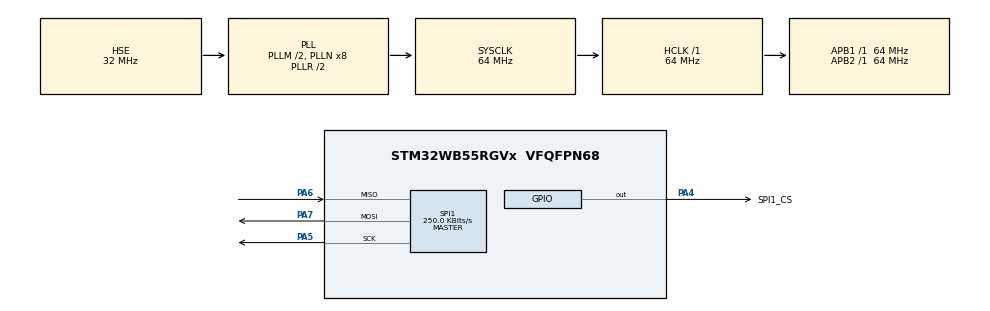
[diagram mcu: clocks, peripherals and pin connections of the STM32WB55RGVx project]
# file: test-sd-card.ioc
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Mcu.Family=STM32WB
Mcu.Name=STM32WB55RGVx
Mcu.Package=VFQFPN68
NUCLEO-WB55RG.BUTTON=1
NUCLEO-WB55RG.BUTTON2=1
NUCLEO-WB55RG.BUTTON3=1
NUCLEO-WB55RG.Bsp_Common_DEMO=true
NUCLEO-WB55RG.LD1=true
NUCLEO-WB55RG.LD2=true
NUCLEO-WB55RG.LD3=true
NUCLEO-WB55RG.VCP=true
NVIC.EXTI0_IRQn=true\:0\:0\:false\:false\:true\:false\:true\:true
NVIC.EXTI1_IRQn=true\:0\:0\:false\:false\:true\:false\:true\:true
NVIC.EXTI4_IRQn=true\:0\:0\:false\:false\:true\:false\:true\:true
NVIC.PriorityGroup=NVIC_PRIORITYGROUP_4
OSC_IN.GPIO_Label=RCC_OSC_IN
OSC_IN.Mode=HSE-External-Oscillator
OSC_IN.Signal=RCC_OSC_IN
OSC_OUT.GPIO_Label=RCC_OSC_OUT
OSC_OUT.Mode=HSE-External-Oscillator
OSC_OUT.Signal=RCC_OSC_OUT
PA11.GPIO_Label=USB_DM
PA11.Signal=USB_DM
PA12.GPIO_Label=USB_DP
PA12.Signal=USB_DP
PA13.GPIO_Label=JTMS
PA13.Mode=Serial_Wire
PA13.Signal=SYS_JTMS-SWDIO
PA14.GPIO_Label=JTCK
PA14.Mode=Serial_Wire
PA14.Signal=SYS_JTCK-SWCLK
PA4.GPIO_Label=SPI1_CS
PA4.GPIO_PuPd=GPIO_PULLUP
PA4.PinState=GPIO_PIN_SET
PA4.Signal=GPIO_Output
PA5.Mode=Full_Duplex_Master
PA5.Signal=SPI1_SCK
PA6.Mode=Full_Duplex_Master
PA6.Signal=SPI1_MISO
PA7.Mode=Full_Duplex_Master
PA7.Signal=SPI1_MOSI
PB3.GPIO_Label=JTDO
PB3.Signal=SYS_JTDO-SWO
PB6.Signal=USART1_TX
PB7.Signal=USART1_RX
PC13.GPIO_Label=SYS_WKUP2
PC13.Signal=SYS_WKUP2
PC14-OSC32_IN.GPIO_Label=RCC_OSC32_IN
PC14-OSC32_IN.Mode=LSE-External-Oscillator
PC14-OSC32_IN.Signal=RCC_OSC32_IN
PC15-OSC32_OUT.GPIO_Label=RCC_OSC32_OUT
PC15-OSC32_OUT.Mode=LSE-External-Oscillator
PC15-OSC32_OUT.Signal=RCC_OSC32_OUT
ProjectManager.HeapSize=0x200
ProjectManager.StackSize=0x400
ProjectManager.TargetToolchain=CMake
RCC.ADCFreq_Value=64000000
RCC.AHB2CLKDivider=RCC_SYSCLK_DIV2
RCC.AHBFreq_Value=64000000
RCC.APB1Freq_Value=64000000
RCC.APB1TimFreq_Value=64000000
RCC.APB2Freq_Value=64000000
RCC.APB2TimFreq_Value=64000000
RCC.APB3Freq_Value=16000000
RCC.CortexFreq_Value=64000000
RCC.HCLKFreq_Value=64000000
RCC.HSE_VALUE=32000000
RCC.HSI48_VALUE=48000000
RCC.HSI_VALUE=16000000
RCC.MSIClockRange=RCC_MSIRANGE_10
RCC.PLLM=RCC_PLLM_DIV2
RCC.PLLSourceVirtual=RCC_PLLSOURCE_HSE
RCC.SMPSCLockSelection=RCC_SMPSCLKSOURCE_HSI
RCC.SMPSCLockSelectionVirtual=RCC_SMPSCLKSOURCE_HSI
RCC.SMPSCLockSelectionVirtualVirtual=RCC_SMPSCLKSOURCE_HSI
RCC.SMPSDivider=1
RCC.SYSCLKFreq_VALUE=64000000
RCC.SYSCLKSource=RCC_SYSCLKSOURCE_PLLCLK
RCC.USBFreq_Value=64000000
RCC.VCOOutputFreq_Value=128000000
SPI1.BaudRatePrescaler=SPI_BAUDRATEPRESCALER_256
SPI1.CalculateBaudRate=250.0 KBits/s
SPI1.DataSize=SPI_DATASIZE_8BIT
SPI1.Direction=SPI_DIRECTION_2LINES
SPI1.Mode=SPI_MODE_MASTER
SPI1.VirtualType=VM_MASTER
VP_FATFS_VS_Generic.Mode=User_defined
VP_MEMORYMAP_VS_MEMORYMAP.Mode=CurAppReg
VP_NUCLEO-WB55RG_VS_BSP_COMMON.Mode=COMMON
board=NUCLEO-WB55RG

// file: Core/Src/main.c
/* USER CODE BEGIN Header */
/**
  ******************************************************************************
  * @file           : main.c
  * @brief          : Main program body
  ******************************************************************************
  * @attention
  *
  * Copyright (c) 2026 STMicroelectronics.
  * All rights reserved.
  *
  * This software is licensed under terms that can be found in the LICENSE file
  * in the root directory of this software component.
  * If no LICENSE file comes with this software, it is provided AS-IS.
  *
  ******************************************************************************
  */
/* USER CODE END Header */
#include "main.h"
#include "app_fatfs.h"

/* USER CODE BEGIN PTD */
FATFS fs;
FIL file;
FRESULT fresult;
UINT bytesWritten;
/* USER CODE END PTD */

COM_InitTypeDef BspCOMInit;
static uint32_t delay = 250;
SPI_HandleTypeDef hspi1;

void SystemClock_Config(void);
void PeriphCommonClock_Config(void);
static void MX_GPIO_Init(void);
static void MX_SPI1_Init(void);

/* USER CODE BEGIN 0 */
int write_test_sd(void) {
    int ok = 0;
    if (f_mount(&fs, "/", 1) == FR_OK) {
        if (f_open(&file, "test.txt", FA_WRITE | FA_CREATE_ALWAYS) == FR_OK) {
            char text[] = "Hello World!\n";
            if (f_write(&file, text, sizeof(text), &bytesWritten) == FR_OK) {
                ok = 1;
            }
            f_close(&file);
        }
        f_mount(NULL, "/", 0);
    }
    return ok;
}

void blink_led(int led, int times) {
    for (int i = 0; i < times; i++) {
        BSP_LED_On(led);
        HAL_Delay(100);
        BSP_LED_Off(led);
        HAL_Delay(100);
    }
    BSP_LED_On(led);
}
/* USER CODE END 0 */

int main(void)
{

  /* MCU Configuration--------------------------------------------------------*/

  /* Reset of all peripherals, Initializes the Flash interface and the Systick. */
  HAL_Init();

  /* Configure the system clock */
  SystemClock_Config();

  /* Configure the peripherals common clocks */
  PeriphCommonClock_Config();

  /* Initialize all configured peripherals */
  MX_GPIO_Init();
  MX_SPI1_Init();
  if (MX_FATFS_Init() != APP_OK) {
    Error_Handler();
  }

  /* Initialize leds */
  BSP_LED_Init(LED_BLUE);
  BSP_LED_Init(LED_GREEN);
  BSP_LED_Init(LED_RED);

  /* Initialize USER push-button, will be used to trigger an interrupt each time it's pressed.*/
  BSP_PB_Init(BUTTON_SW1, BUTTON_MODE_EXTI);
  BSP_PB_Init(BUTTON_SW2, BUTTON_MODE_EXTI);
  BSP_PB_Init(BUTTON_SW3, BUTTON_MODE_EXTI);

  /* Initialize COM1 port (115200, 8 bits (7-bit data + 1 stop bit), no parity */
  BspCOMInit.BaudRate   = 115200;
  BspCOMInit.WordLength = COM_WORDLENGTH_8B;
  BspCOMInit.StopBits   = COM_STOPBITS_1;
  BspCOMInit.Parity     = COM_PARITY_NONE;
  BspCOMInit.HwFlowCtl  = COM_HWCONTROL_NONE;
  if (BSP_COM_Init(COM1, &BspCOMInit) != BSP_ERROR_NONE)
  {
    Error_Handler();
  }

  /* USER CODE BEGIN BSP */

  /* -- Sample board code to send message over COM1 port ---- */
  printf("Welcome to STM32 world !\n\r");

  /* -- Sample board code to switch on leds ---- */
  BSP_LED_On(LED_BLUE);
  BSP_LED_On(LED_GREEN);
  BSP_LED_On(LED_RED);

  if (write_test_sd()) {
      blink_led(LED_GREEN, 5);
  } else {
      blink_led(LED_RED, 5);
  }

  /* USER CODE END BSP */

  /* Infinite loop */
  /* USER CODE BEGIN WHILE */
  while (1)
  {

    /* -- Sample board code for User push-button in interrupt mode ---- */
    BSP_LED_Toggle(LED_BLUE);
    HAL_Delay(delay);

    BSP_LED_Toggle(LED_GREEN);
    HAL_Delay(delay);

    BSP_LED_Toggle(LED_RED);
    HAL_Delay(delay);

    /* USER CODE END WHILE */

  }
}

void SystemClock_Config(void)
{
  RCC_OscInitTypeDef RCC_OscInitStruct = {0};
  RCC_ClkInitTypeDef RCC_ClkInitStruct = {0};

  /** Configure the main internal regulator output voltage
  */
  __HAL_PWR_VOLTAGESCALING_CONFIG(PWR_REGULATOR_VOLTAGE_SCALE1);

  /** Initializes the RCC Oscillators according to the specified parameters
  * in the RCC_OscInitTypeDef structure.
  */
  RCC_OscInitStruct.OscillatorType = RCC_OSCILLATORTYPE_HSI|RCC_OSCILLATORTYPE_HSE;
  RCC_OscInitStruct.HSEState = RCC_HSE_ON;
  RCC_OscInitStruct.HSIState = RCC_HSI_ON;
  RCC_OscInitStruct.HSICalibrationValue = RCC_HSICALIBRATION_DEFAULT;
  RCC_OscInitStruct.PLL.PLLState = RCC_PLL_ON;
  RCC_OscInitStruct.PLL.PLLSource = RCC_PLLSOURCE_HSE;
  RCC_OscInitStruct.PLL.PLLM = RCC_PLLM_DIV2;
  RCC_OscInitStruct.PLL.PLLN = 8;
  RCC_OscInitStruct.PLL.PLLP = RCC_PLLP_DIV2;
  RCC_OscInitStruct.PLL.PLLR = RCC_PLLR_DIV2;
  RCC_OscInitStruct.PLL.PLLQ = RCC_PLLQ_DIV2;
  if (HAL_RCC_OscConfig(&RCC_OscInitStruct) != HAL_OK)
  {
    Error_Handler();
  }

  /** Configure the SYSCLKSource, HCLK, PCLK1 and PCLK2 clocks dividers
  */
  RCC_ClkInitStruct.ClockType = RCC_CLOCKTYPE_HCLK4|RCC_CLOCKTYPE_HCLK2
                              |RCC_CLOCKTYPE_HCLK|RCC_CLOCKTYPE_SYSCLK
                              |RCC_CLOCKTYPE_PCLK1|RCC_CLOCKTYPE_PCLK2;
  RCC_ClkInitStruct.SYSCLKSource = RCC_SYSCLKSOURCE_PLLCLK;
  RCC_ClkInitStruct.AHBCLKDivider = RCC_SYSCLK_DIV1;
  RCC_ClkInitStruct.APB1CLKDivider = RCC_HCLK_DIV1;
  RCC_ClkInitStruct.APB2CLKDivider = RCC_HCLK_DIV1;
  RCC_ClkInitStruct.AHBCLK2Divider = RCC_SYSCLK_DIV2;
  RCC_ClkInitStruct.AHBCLK4Divider = RCC_SYSCLK_DIV1;

  if (HAL_RCC_ClockConfig(&RCC_ClkInitStruct, FLASH_LATENCY_3) != HAL_OK)
  {
    Error_Handler();
  }
}

void PeriphCommonClock_Config(void)
{
  RCC_PeriphCLKInitTypeDef PeriphClkInitStruct = {0};

  /** Initializes the peripherals clock
  */
  PeriphClkInitStruct.PeriphClockSelection = RCC_PERIPHCLK_SMPS;
  PeriphClkInitStruct.SmpsClockSelection = RCC_SMPSCLKSOURCE_HSI;
  PeriphClkInitStruct.SmpsDivSelection = RCC_SMPSCLKDIV_RANGE0;

  if (HAL_RCCEx_PeriphCLKConfig(&PeriphClkInitStruct) != HAL_OK)
  {
    Error_Handler();
  }
}

static void MX_SPI1_Init(void)
{

  /* SPI1 parameter configuration*/
  hspi1.Instance = SPI1;
  hspi1.Init.Mode = SPI_MODE_MASTER;
  hspi1.Init.Direction = SPI_DIRECTION_2LINES;
  hspi1.Init.DataSize = SPI_DATASIZE_8BIT;
  hspi1.Init.CLKPolarity = SPI_POLARITY_LOW;
  hspi1.Init.CLKPhase = SPI_PHASE_1EDGE;
  hspi1.Init.NSS = SPI_NSS_SOFT;
  hspi1.Init.BaudRatePrescaler = SPI_BAUDRATEPRESCALER_256;
  hspi1.Init.FirstBit = SPI_FIRSTBIT_MSB;
  hspi1.Init.TIMode = SPI_TIMODE_DISABLE;
  hspi1.Init.CRCCalculation = SPI_CRCCALCULATION_DISABLE;
  hspi1.Init.CRCPolynomial = 7;
  hspi1.Init.CRCLength = SPI_CRC_LENGTH_DATASIZE;
  hspi1.Init.NSSPMode = SPI_NSS_PULSE_ENABLE;
  if (HAL_SPI_Init(&hspi1) != HAL_OK)
  {
    Error_Handler();
  }

}

static void MX_GPIO_Init(void)
{
  GPIO_InitTypeDef GPIO_InitStruct = {0};

  /* GPIO Ports Clock Enable */
  __HAL_RCC_GPIOC_CLK_ENABLE();
  __HAL_RCC_GPIOA_CLK_ENABLE();
  __HAL_RCC_GPIOB_CLK_ENABLE();

  /*Configure GPIO pin Output Level */
  HAL_GPIO_WritePin(SPI1_CS_GPIO_Port, SPI1_CS_Pin, GPIO_PIN_SET);

  /*Configure GPIO pin : SPI1_CS_Pin */
  GPIO_InitStruct.Pin = SPI1_CS_Pin;
  GPIO_InitStruct.Mode = GPIO_MODE_OUTPUT_PP;
  GPIO_InitStruct.Pull = GPIO_PULLUP;
  GPIO_InitStruct.Speed = GPIO_SPEED_FREQ_LOW;
  HAL_GPIO_Init(SPI1_CS_GPIO_Port, &GPIO_InitStruct);

  /*Configure GPIO pins : USB_DM_Pin USB_DP_Pin */
  GPIO_InitStruct.Pin = USB_DM_Pin|USB_DP_Pin;
  GPIO_InitStruct.Mode = GPIO_MODE_AF_PP;
  GPIO_InitStruct.Pull = GPIO_NOPULL;
  GPIO_InitStruct.Speed = GPIO_SPEED_FREQ_LOW;
  GPIO_InitStruct.Alternate = GPIO_AF10_USB;
  HAL_GPIO_Init(GPIOA, &GPIO_InitStruct);

}

/**
  * @brief EXTI line detection callback.
  * @param GPIO_Pin: Specifies the pins connected EXTI line
  * @retval None
  */
void HAL_GPIO_EXTI_Callback(uint16_t GPIO_Pin)
{
  switch(GPIO_Pin)
  {
    case BUTTON_SW1_PIN:
      /* Change the period to 100 ms */
      delay = 100;
      break;
    case BUTTON_SW2_PIN:
      /* Change the period to 500 ms */
      delay = 500;
      break;
    case BUTTON_SW3_PIN:
      /* Change the period to 1000 ms */
      delay = 1000;
      break;
    default:
      break;
  }
}

void Error_Handler(void)
{
  __disable_irq();
  while (1)
  {
  }
}
